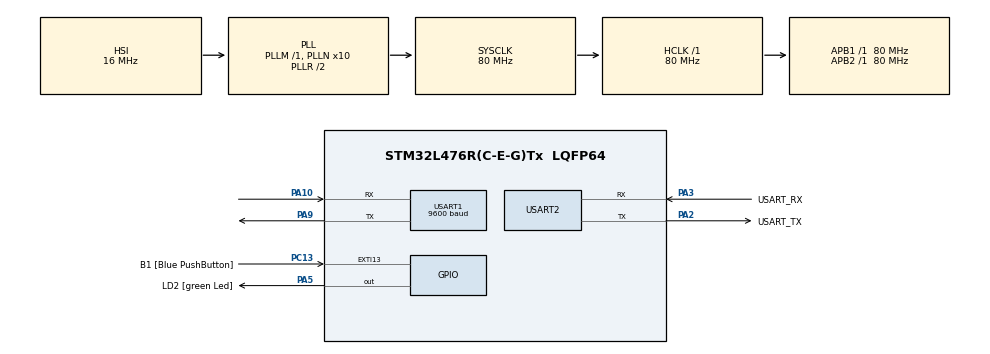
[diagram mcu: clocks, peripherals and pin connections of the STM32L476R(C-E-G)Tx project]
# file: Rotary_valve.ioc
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Mcu.Family=STM32L4
Mcu.Name=STM32L476R(C-E-G)Tx
Mcu.Package=LQFP64
NVIC.PriorityGroup=NVIC_PRIORITYGROUP_4
PA10.Mode=Asynchronous
PA10.Signal=USART1_RX
PA13\ (JTMS-SWDIO).GPIO_Label=TMS
PA13\ (JTMS-SWDIO).Mode=Serial_Wire
PA13\ (JTMS-SWDIO).Signal=SYS_JTMS-SWDIO
PA14\ (JTCK-SWCLK).GPIO_Label=TCK
PA14\ (JTCK-SWCLK).Mode=Serial_Wire
PA14\ (JTCK-SWCLK).Signal=SYS_JTCK-SWCLK
PA2.GPIO_Label=USART_TX
PA2.GPIO_Mode=GPIO_MODE_AF_PP
PA2.GPIO_PuPd=GPIO_NOPULL
PA2.GPIO_Speed=GPIO_SPEED_FREQ_VERY_HIGH
PA2.Mode=Asynchronous
PA2.Signal=USART2_TX
PA3.GPIO_Label=USART_RX
PA3.GPIO_Mode=GPIO_MODE_AF_PP
PA3.GPIO_PuPd=GPIO_NOPULL
PA3.GPIO_Speed=GPIO_SPEED_FREQ_VERY_HIGH
PA3.Mode=Asynchronous
PA3.Signal=USART2_RX
PA5.GPIO_Label=LD2 [green Led]
PA5.GPIO_ModeDefaultOutputPP=GPIO_MODE_OUTPUT_PP
PA5.GPIO_PuPd=GPIO_NOPULL
PA5.GPIO_Speed=GPIO_SPEED_FREQ_LOW
PA5.Signal=GPIO_Output
PA9.Mode=Asynchronous
PA9.Signal=USART1_TX
PB3\ (JTDO-TRACESWO).GPIO_Label=SWO
PB3\ (JTDO-TRACESWO).Signal=SYS_JTDO-SWO
PC13.GPIO_Label=B1 [Blue PushButton]
PC13.GPIO_ModeDefaultEXTI=GPIO_MODE_IT_FALLING
PC13.GPIO_PuPd=GPIO_NOPULL
PC13.Signal=GPXTI13
PC14-OSC32_IN\ (PC14).Mode=LSE-External-Oscillator
PC14-OSC32_IN\ (PC14).Signal=RCC_OSC32_IN
PC15-OSC32_OUT\ (PC15).Mode=LSE-External-Oscillator
PC15-OSC32_OUT\ (PC15).Signal=RCC_OSC32_OUT
PH0-OSC_IN\ (PH0).Signal=RCC_OSC_IN
PH1-OSC_OUT\ (PH1).Signal=RCC_OSC_OUT
ProjectManager.HeapSize=0x200
ProjectManager.StackSize=0x400
ProjectManager.TargetToolchain=STM32CubeIDE
RCC.ADCFreq_Value=64000000
RCC.AHBFreq_Value=80000000
RCC.APB1Freq_Value=80000000
RCC.APB1TimFreq_Value=80000000
RCC.APB2Freq_Value=80000000
RCC.APB2TimFreq_Value=80000000
RCC.CortexFreq_Value=80000000
RCC.HCLKFreq_Value=80000000
RCC.HSE_VALUE=8000000
RCC.HSI_VALUE=16000000
RCC.MSI_VALUE=4000000
RCC.PLLN=10
RCC.PLLSourceVirtual=RCC_PLLSOURCE_HSI
RCC.PREFETCH_ENABLE=1
RCC.SYSCLKFreq_VALUE=80000000
RCC.SYSCLKSource=RCC_SYSCLKSOURCE_PLLCLK
RCC.USBFreq_Value=64000000
RCC.VCOOutputFreq_Value=160000000
USART1.BaudRate=9600
USART1.VirtualMode-Asynchronous=VM_ASYNC
USART2.VirtualMode-Asynchronous=VM_ASYNC
board=NUCLEO-L476RG

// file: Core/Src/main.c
/* USER CODE BEGIN Header */
/**
  ******************************************************************************
  * @file           : main.c
  * @brief          : Main program body
  ******************************************************************************
  * @attention
  *
  * Copyright (c) 2025 STMicroelectronics.
  * All rights reserved.
  *
  * This software is licensed under terms that can be found in the LICENSE file
  * in the root directory of this software component.
  * If no LICENSE file comes with this software, it is provided AS-IS.
  *
  ******************************************************************************
  */
/* USER CODE END Header */
#include <PGValve.h>
#include "main.h"

/* USER CODE BEGIN Includes */
#include "stdio.h"
#include "string.h"

/* USER CODE END Includes */

UART_HandleTypeDef huart1;
UART_HandleTypeDef huart2;

/* USER CODE BEGIN PV */
int _write(int file, char *ptr, int len)
{
	int i=0;
	for (i=0; i<len; i++)
		ITM_SendChar(*ptr++);
	return len;
}
/* USER CODE END PV */

void SystemClock_Config(void);
static void MX_GPIO_Init(void);
static void MX_USART2_UART_Init(void);
static void MX_USART1_UART_Init(void);
/* USER CODE BEGIN PFP */
PGValve_HandleTypeDef hvalve;

/* USER CODE END PFP */

int main(void)
{

  /* MCU Configuration--------------------------------------------------------*/

  /* Reset of all peripherals, Initializes the Flash interface and the Systick. */
  HAL_Init();

  /* Configure the system clock */
  SystemClock_Config();

  /* Initialize all configured peripherals */
  MX_GPIO_Init();
  MX_USART2_UART_Init();
  MX_USART1_UART_Init();
  /* USER CODE BEGIN 2 */
  printf("Initializing valve...\r\n");
  PGV_Init(&hvalve, &huart1, 0x42, NULL, 0xFFFF); // addr=0x42, no DE pin (auto-DE)

  HAL_Delay(500);

  printf("Resetting valve...\r\n");
  if (!PGV_Reset(&hvalve)) {
	  printf("Valve reset failed!\r\n");
  }
  HAL_Delay(5000); // allow homing

  // Sequential test: ports 1–5
  for (uint8_t port = 1; port <= 5; port++) {
	  printf("Moving to port %u...\r\n", port);
	  if (!PGV_SwitchTo(&hvalve, port)) {
		  printf("Failed to send move command to port %u\r\n", port);
		  continue;
	  }

	  // Wait for valve to reach target
	  uint8_t cur = 0;
	  uint32_t start = HAL_GetTick();
	  while (HAL_GetTick() - start < 10000) { // 10 s timeout
		  if (PGV_GetCurrentPosition(&hvalve, &cur)) {
			  if (cur == port) break;
		  }
		  HAL_Delay(200);
	  }

	  if (cur == port) {
		  printf("Valve reports port %u\r\n", cur);
	  } else {
		  printf("Timeout: Valve did not reach port %u, last reported %u\r\n", port, cur);
	  }

	  HAL_Delay(500); // small pause between moves
  }

  /* USER CODE END 2 */

  /* Infinite loop */
  while (1)
  {

    /* USER CODE BEGIN 3 */
	HAL_GPIO_TogglePin(GPIOA, GPIO_PIN_5);
	HAL_Delay(2000);
  }
  /* USER CODE END 3 */
}

void SystemClock_Config(void)
{
  RCC_OscInitTypeDef RCC_OscInitStruct = {0};
  RCC_ClkInitTypeDef RCC_ClkInitStruct = {0};

  /** Configure the main internal regulator output voltage
  */
  if (HAL_PWREx_ControlVoltageScaling(PWR_REGULATOR_VOLTAGE_SCALE1) != HAL_OK)
  {
    Error_Handler();
  }

  /** Initializes the RCC Oscillators according to the specified parameters
  * in the RCC_OscInitTypeDef structure.
  */
  RCC_OscInitStruct.OscillatorType = RCC_OSCILLATORTYPE_HSI;
  RCC_OscInitStruct.HSIState = RCC_HSI_ON;
  RCC_OscInitStruct.HSICalibrationValue = RCC_HSICALIBRATION_DEFAULT;
  RCC_OscInitStruct.PLL.PLLState = RCC_PLL_ON;
  RCC_OscInitStruct.PLL.PLLSource = RCC_PLLSOURCE_HSI;
  RCC_OscInitStruct.PLL.PLLM = 1;
  RCC_OscInitStruct.PLL.PLLN = 10;
  RCC_OscInitStruct.PLL.PLLP = RCC_PLLP_DIV7;
  RCC_OscInitStruct.PLL.PLLQ = RCC_PLLQ_DIV2;
  RCC_OscInitStruct.PLL.PLLR = RCC_PLLR_DIV2;
  if (HAL_RCC_OscConfig(&RCC_OscInitStruct) != HAL_OK)
  {
    Error_Handler();
  }

  /** Initializes the CPU, AHB and APB buses clocks
  */
  RCC_ClkInitStruct.ClockType = RCC_CLOCKTYPE_HCLK|RCC_CLOCKTYPE_SYSCLK
                              |RCC_CLOCKTYPE_PCLK1|RCC_CLOCKTYPE_PCLK2;
  RCC_ClkInitStruct.SYSCLKSource = RCC_SYSCLKSOURCE_PLLCLK;
  RCC_ClkInitStruct.AHBCLKDivider = RCC_SYSCLK_DIV1;
  RCC_ClkInitStruct.APB1CLKDivider = RCC_HCLK_DIV1;
  RCC_ClkInitStruct.APB2CLKDivider = RCC_HCLK_DIV1;

  if (HAL_RCC_ClockConfig(&RCC_ClkInitStruct, FLASH_LATENCY_4) != HAL_OK)
  {
    Error_Handler();
  }
}

static void MX_USART1_UART_Init(void)
{

  huart1.Instance = USART1;
  huart1.Init.BaudRate = 9600;
  huart1.Init.WordLength = UART_WORDLENGTH_8B;
  huart1.Init.StopBits = UART_STOPBITS_1;
  huart1.Init.Parity = UART_PARITY_NONE;
  huart1.Init.Mode = UART_MODE_TX_RX;
  huart1.Init.HwFlowCtl = UART_HWCONTROL_NONE;
  huart1.Init.OverSampling = UART_OVERSAMPLING_16;
  huart1.Init.OneBitSampling = UART_ONE_BIT_SAMPLE_DISABLE;
  huart1.AdvancedInit.AdvFeatureInit = UART_ADVFEATURE_NO_INIT;
  if (HAL_UART_Init(&huart1) != HAL_OK)
  {
    Error_Handler();
  }

}

static void MX_USART2_UART_Init(void)
{

  huart2.Instance = USART2;
  huart2.Init.BaudRate = 115200;
  huart2.Init.WordLength = UART_WORDLENGTH_8B;
  huart2.Init.StopBits = UART_STOPBITS_1;
  huart2.Init.Parity = UART_PARITY_NONE;
  huart2.Init.Mode = UART_MODE_TX_RX;
  huart2.Init.HwFlowCtl = UART_HWCONTROL_NONE;
  huart2.Init.OverSampling = UART_OVERSAMPLING_16;
  huart2.Init.OneBitSampling = UART_ONE_BIT_SAMPLE_DISABLE;
  huart2.AdvancedInit.AdvFeatureInit = UART_ADVFEATURE_NO_INIT;
  if (HAL_UART_Init(&huart2) != HAL_OK)
  {
    Error_Handler();
  }

}

static void MX_GPIO_Init(void)
{
  GPIO_InitTypeDef GPIO_InitStruct = {0};

  /* GPIO Ports Clock Enable */
  __HAL_RCC_GPIOC_CLK_ENABLE();
  __HAL_RCC_GPIOH_CLK_ENABLE();
  __HAL_RCC_GPIOA_CLK_ENABLE();
  __HAL_RCC_GPIOB_CLK_ENABLE();

  /*Configure GPIO pin Output Level */
  HAL_GPIO_WritePin(LD2_GPIO_Port, LD2_Pin, GPIO_PIN_RESET);

  /*Configure GPIO pin : B1_Pin */
  GPIO_InitStruct.Pin = B1_Pin;
  GPIO_InitStruct.Mode = GPIO_MODE_IT_FALLING;
  GPIO_InitStruct.Pull = GPIO_NOPULL;
  HAL_GPIO_Init(B1_GPIO_Port, &GPIO_InitStruct);

  /*Configure GPIO pin : LD2_Pin */
  GPIO_InitStruct.Pin = LD2_Pin;
  GPIO_InitStruct.Mode = GPIO_MODE_OUTPUT_PP;
  GPIO_InitStruct.Pull = GPIO_NOPULL;
  GPIO_InitStruct.Speed = GPIO_SPEED_FREQ_LOW;
  HAL_GPIO_Init(LD2_GPIO_Port, &GPIO_InitStruct);

}

void Error_Handler(void)
{
  __disable_irq();
  while (1)
  {
  }
}
